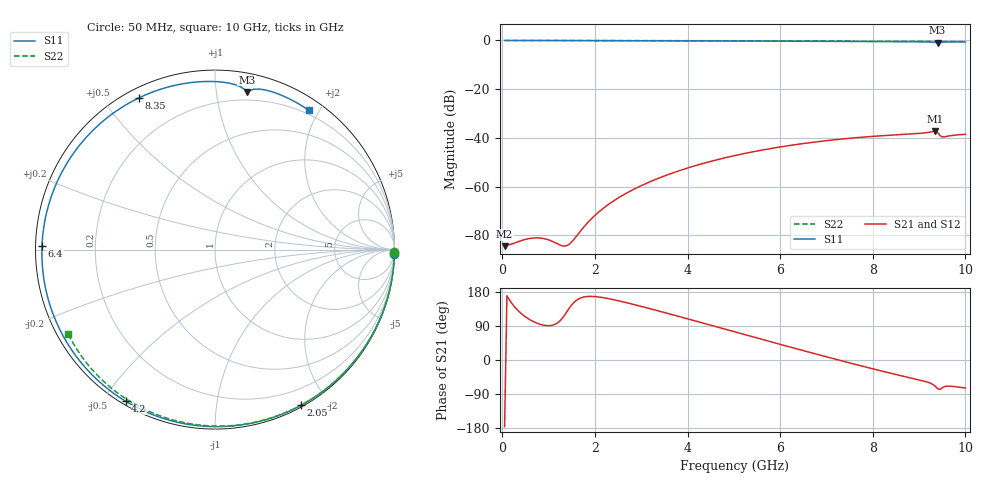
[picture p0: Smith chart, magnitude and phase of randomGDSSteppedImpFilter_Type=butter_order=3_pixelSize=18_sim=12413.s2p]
! freq	dB(S11)	phase(S11)	dB(S12)	phase(S12)
!  dB(S21)	phase(S21)	dB(S22)	phase(S22)
!S-par simulation data
#  GHz  S  DB  R 50
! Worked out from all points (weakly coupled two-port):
!   200 points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, 50 MHz to 10 GHz, reference 50 ohm
!   highest |S21| = -37.33 dB at 9.35 GHz (marker M1); lowest = -84.4 dB at 50 MHz (marker M2)
!   lowest |S11| = -1.0 dB at 9.4 GHz (marker M3), VSWR 18.11, Z = 6.85 + j60.7 ohm
!   |S11| at or under -10 dB: nowhere
!   |S22| runs from -0.5 to 0.0 dB; largest |S21 - S12| = 0
!   S11 on the Smith chart (normalised r, x): 50 MHz: 0, -75; 2.05 GHz: 0.02, -1.70; 4.2 GHz: 0.01, -0.57; 6.4 GHz: 0.02, +0.01; 8.35 GHz: 0.04, +0.62; 10 GHz: 0.15, +1.87
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0.05  -0.00 -1.5  -84.39 -175.7  -84.39 -175.7  -0.00 -0.9
0.8  -0.03 -24.3  -81.03 94.9  -81.03 94.9  -0.01 -13.8
1.6  -0.06 -48.0  -80.32 157.5  -80.32 157.5  -0.03 -27.4
1.75  -0.07 -52.4  -76.75 165.9  -76.75 165.9  -0.04 -29.9
2.05  -0.08 -61.1  -70.90 166.8  -70.90 166.8  -0.04 -35.0
2.35  -0.09 -69.6  -66.50 160.6  -66.50 160.6  -0.05 -39.9
2.65  -0.10 -78.1  -62.97 152.2  -62.97 152.2  -0.06 -44.8
3.4  -0.13 -98.8  -56.33 128.6  -56.33 128.6  -0.08 -56.9
4.2  -0.17 -120.5  -51.19 102.0  -51.19 102.0  -0.10 -69.3
5.05  -0.22 -143.4  -47.10 73.2  -47.10 73.2  -0.13 -82.0
5.75  -0.27 -162.6  -44.49 49.6  -44.49 49.6  -0.15 -92.2
6.4  -0.32 178.9  -42.55 28.0  -42.55 28.0  -0.19 -101.4
6.7  -0.34 170.1  -41.79 18.2  -41.79 18.2  -0.20 -105.6
7.5  -0.41 145.3  -40.12 -7.6  -40.12 -7.6  -0.26 -116.5
7.9  -0.45 132.1  -39.49 -20.2  -39.49 -20.2  -0.29 -121.9
8.35  -0.49 116.7  -38.91 -33.8  -38.91 -33.8  -0.33 -127.9
8.9  -0.54 96.8  -38.28 -49.6  -38.28 -49.6  -0.38 -135.3
9.15  -0.60 87.2  -37.85 -57.2  -37.85 -57.2  -0.41 -138.6
9.35  -0.84 79.5  -37.33 -69.4  -37.33 -69.4  -0.43 -141.3
9.4  -0.96 78.6  -37.79 -75.6  -37.79 -75.6  -0.43 -142.0
9.5  -0.73 76.5  -39.59 -73.3  -39.59 -73.3  -0.45 -143.4
10  -0.58 56.1  -38.50 -73.9  -38.50 -73.9  -0.51 -150.1
